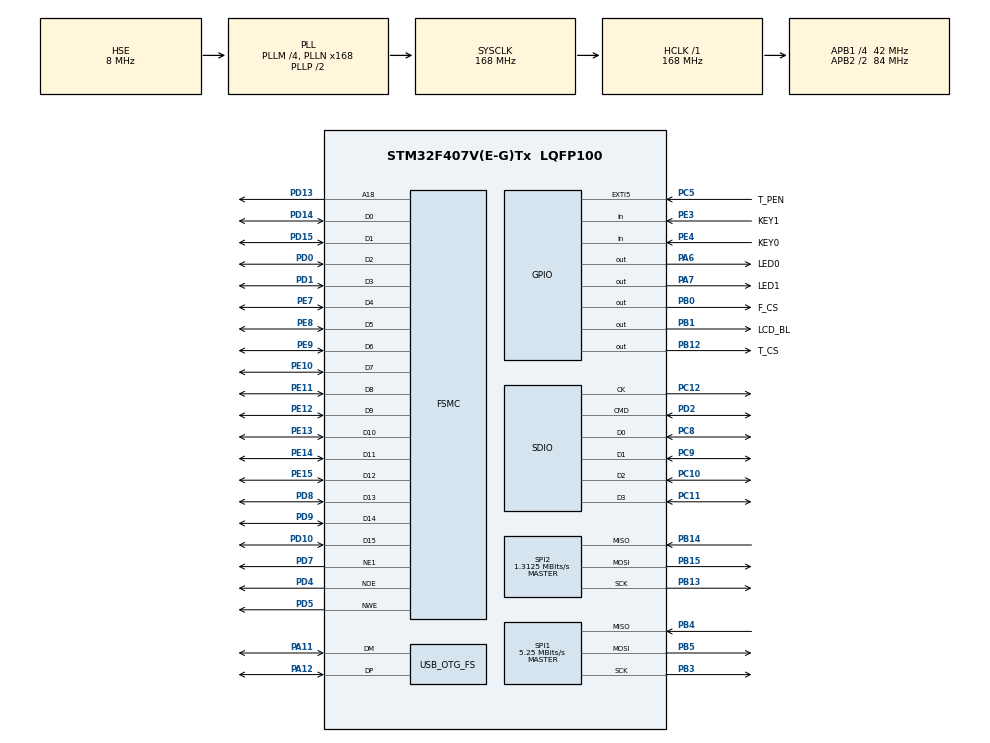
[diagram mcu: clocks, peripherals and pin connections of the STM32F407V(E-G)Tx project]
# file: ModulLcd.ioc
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FATFS.BSP.number=1
FATFS.USE_DMA_CODE_SD=1
FATFS._MAX_SS=4096
FATFS0.BSP.STBoard=false
FATFS0.BSP.api=Unknown
FATFS0.BSP.i2caddr=0
FATFS0.BSP.instance=PE4
FATFS0.BSP.ip=GPIO
FATFS0.BSP.mode=Input
FATFS0.BSP.name=Detect_SDIO
FATFS0.BSP.solution=PE4
Mcu.Family=STM32F4
Mcu.Name=STM32F407V(E-G)Tx
Mcu.Package=LQFP100
NVIC.EXTI9_5_IRQn=true\:0\:0\:false\:true\:true\:1\:true\:true
NVIC.OTG_FS_IRQn=true\:0\:0\:false\:false\:true\:false\:true
NVIC.PriorityGroup=NVIC_PRIORITYGROUP_4
PA11.Mode=Device_Only
PA11.Signal=USB_OTG_FS_DM
PA12.Mode=Device_Only
PA12.Signal=USB_OTG_FS_DP
PA13.Mode=Serial_Wire
PA13.Signal=SYS_JTMS-SWDIO
PA14.Mode=Serial_Wire
PA14.Signal=SYS_JTCK-SWCLK
PA6.GPIO_Label=LED0
PA6.PinState=GPIO_PIN_SET
PA6.Signal=GPIO_Output
PA7.GPIO_Label=LED1
PA7.PinState=GPIO_PIN_SET
PA7.Signal=GPIO_Output
PB0.GPIO_Label=F_CS
PB0.GPIO_Speed=GPIO_SPEED_FREQ_HIGH
PB0.PinState=GPIO_PIN_SET
PB0.Signal=GPIO_Output
PB1.GPIO_Label=LCD_BL
PB1.Signal=GPIO_Output
PB12.GPIO_Label=T_CS
PB12.GPIO_PuPd=GPIO_PULLUP
PB12.GPIO_Speed=GPIO_SPEED_FREQ_HIGH
PB12.PinState=GPIO_PIN_SET
PB12.Signal=GPIO_Output
PB13.Mode=Full_Duplex_Master
PB13.Signal=SPI2_SCK
PB14.Mode=Full_Duplex_Master
PB14.Signal=SPI2_MISO
PB15.Mode=Full_Duplex_Master
PB15.Signal=SPI2_MOSI
PB3.Mode=Full_Duplex_Master
PB3.Signal=SPI1_SCK
PB4.Mode=Full_Duplex_Master
PB4.Signal=SPI1_MISO
PB5.Mode=Full_Duplex_Master
PB5.Signal=SPI1_MOSI
PC10.Mode=SD_4_bits_Wide_bus
PC10.Signal=SDIO_D2
PC11.Mode=SD_4_bits_Wide_bus
PC11.Signal=SDIO_D3
PC12.Mode=SD_4_bits_Wide_bus
PC12.Signal=SDIO_CK
PC5.GPIO_Label=T_PEN
PC5.GPIO_ModeDefaultEXTI=GPIO_MODE_IT_FALLING
PC5.GPIO_PuPd=GPIO_PULLUP
PC5.Signal=GPXTI5
PC8.Mode=SD_4_bits_Wide_bus
PC8.Signal=SDIO_D0
PC9.Mode=SD_4_bits_Wide_bus
PC9.Signal=SDIO_D1
PD0.Mode=16b-d1
PD0.Signal=FSMC_D2
PD1.Mode=16b-d1
PD1.Signal=FSMC_D3
PD10.Mode=16b-d1
PD10.Signal=FSMC_D15
PD13.Mode=A18_1
PD13.Signal=FSMC_A18
PD14.Mode=16b-d1
PD14.Signal=FSMC_D0
PD15.Mode=16b-d1
PD15.Signal=FSMC_D1
PD2.Mode=SD_4_bits_Wide_bus
PD2.Signal=SDIO_CMD
PD4.Mode=Lcd1
PD4.Signal=FSMC_NOE
PD5.Mode=Lcd1
PD5.Signal=FSMC_NWE
PD7.Mode=NorPsramChipSelect1_1
PD7.Signal=FSMC_NE1
PD8.Mode=16b-d1
PD8.Signal=FSMC_D13
PD9.Mode=16b-d1
PD9.Signal=FSMC_D14
PE10.Mode=16b-d1
PE10.Signal=FSMC_D7
PE11.Mode=16b-d1
PE11.Signal=FSMC_D8
PE12.Mode=16b-d1
PE12.Signal=FSMC_D9
PE13.Mode=16b-d1
PE13.Signal=FSMC_D10
PE14.Mode=16b-d1
PE14.Signal=FSMC_D11
PE15.Mode=16b-d1
PE15.Signal=FSMC_D12
PE3.GPIO_Label=KEY1
PE3.GPIO_PuPd=GPIO_PULLUP
PE3.Signal=GPIO_Input
PE4.GPIO_Label=KEY0
PE4.GPIO_PuPd=GPIO_PULLUP
PE4.Signal=GPIO_Input
PE7.Mode=16b-d1
PE7.Signal=FSMC_D4
PE8.Mode=16b-d1
PE8.Signal=FSMC_D5
PE9.Mode=16b-d1
PE9.Signal=FSMC_D6
PH0-OSC_IN.Mode=HSE-External-Oscillator
PH0-OSC_IN.Signal=RCC_OSC_IN
PH1-OSC_OUT.Mode=HSE-External-Oscillator
PH1-OSC_OUT.Signal=RCC_OSC_OUT
ProjectManager.HeapSize=0x200
ProjectManager.StackSize=0x400
ProjectManager.TargetToolchain=STM32CubeIDE
RCC.48MHZClocksFreq_Value=48000000
RCC.AHBFreq_Value=168000000
RCC.APB1CLKDivider=RCC_HCLK_DIV4
RCC.APB1Freq_Value=42000000
RCC.APB1TimFreq_Value=84000000
RCC.APB2CLKDivider=RCC_HCLK_DIV2
RCC.APB2Freq_Value=84000000
RCC.APB2TimFreq_Value=168000000
RCC.CortexFreq_Value=168000000
RCC.HCLKFreq_Value=168000000
RCC.HSE_VALUE=8000000
RCC.HSI_VALUE=16000000
RCC.LSE_VALUE=32768
RCC.PLLM=4
RCC.PLLN=168
RCC.PLLQ=7
RCC.SYSCLKFreq_VALUE=168000000
RCC.SYSCLKSource=RCC_SYSCLKSOURCE_PLLCLK
RCC.VCOOutputFreq_Value=336000000
SPI1.BaudRatePrescaler=SPI_BAUDRATEPRESCALER_16
SPI1.CalculateBaudRate=5.25 MBits/s
SPI1.Direction=SPI_DIRECTION_2LINES
SPI1.Mode=SPI_MODE_MASTER
SPI1.VirtualType=VM_MASTER
SPI2.BaudRatePrescaler=SPI_BAUDRATEPRESCALER_32
SPI2.CalculateBaudRate=1.3125 MBits/s
SPI2.Direction=SPI_DIRECTION_2LINES
SPI2.Mode=SPI_MODE_MASTER
SPI2.VirtualType=VM_MASTER
USB_DEVICE.CLASS_NAME_FS=MSC
USB_DEVICE.VirtualMode-MSC_FS=Msc
USB_DEVICE.VirtualModeFS=Msc_FS
USB_OTG_FS.VirtualMode=Device_Only
VP_FATFS_VS_SDIO.Mode=SDIO
VP_USB_DEVICE_VS_USB_DEVICE_MSC_FS.Mode=MSC_FS
board=custom

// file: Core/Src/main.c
/* USER CODE BEGIN Header */
/**
  ******************************************************************************
  * @file           : main.c
  * @brief          : Main program body
  ******************************************************************************
  * @attention
  *
  * <h2><center>&copy; Copyright (c) 2020 STMicroelectronics.
  * All rights reserved.</center></h2>
  *
  * This software component is licensed by ST under BSD 3-Clause license,
  * the "License"; You may not use this file except in compliance with the
  * License. You may obtain a copy of the License at:
  *                        opensource.org/licenses/BSD-3-Clause
  *
  ******************************************************************************
  */
/* USER CODE END Header */
#include "main.h"
#include "fatfs.h"
#include "usb_device.h"

/* USER CODE BEGIN Includes */
#include "ili9341.h"
#include "XPT2046_touch.h"
#include "touch_process.h"
#include "w25qxx.h"
/* USER CODE END Includes */

SD_HandleTypeDef hsd;

SPI_HandleTypeDef hspi1;
SPI_HandleTypeDef hspi2;

SRAM_HandleTypeDef hsram1;

void SystemClock_Config(void);
static void MX_GPIO_Init(void);
static void MX_SPI1_Init(void);
static void MX_FSMC_Init(void);
static void MX_SPI2_Init(void);
static void MX_SDIO_SD_Init(void);
static void MX_NVIC_Init(void);

int main(void)
{

  /* MCU Configuration--------------------------------------------------------*/

  /* Reset of all peripherals, Initializes the Flash interface and the Systick. */
  HAL_Init();

  /* Configure the system clock */
  SystemClock_Config();

  /* Initialize all configured peripherals */
  MX_GPIO_Init();
  MX_SPI1_Init();
  MX_FSMC_Init();
  MX_SPI2_Init();
  MX_SDIO_SD_Init();
  MX_FATFS_Init();
  MX_USB_DEVICE_Init();

  /* Initialize interrupts */
  MX_NVIC_Init();
  /* USER CODE BEGIN 2 */

  // dataflash init
  W25qxx_Init();

  // backlight on
  lcdBacklightOn();
  // initialization
  lcdInit();
  // orientation
  lcdSetOrientation(LCD_ORIENTATION_LANDSCAPE);
  // background color
  lcdFillRGB(COLOR_WHITE);

  lcdSetTextFont(&Font8);
  lcdSetTextColor(COLOR_BLACK, COLOR_WHITE);
  lcdSetCursor(50, 5);   // xy
  lcdPrintf("Hello world");

  lcdSetTextFont(&Font12);
  lcdSetTextColor(COLOR_GREEN, COLOR_WHITE);
  lcdSetCursor(100, 5);   // xy
  lcdPrintf("Hello world");

  /* USER CODE END 2 */

  /* Infinite loop */
  /* USER CODE BEGIN WHILE */
  while (1)
  {
	// touch screen post IRQ handler
	tp_doProcessMain();

    /* USER CODE END WHILE */

  }
}

void SystemClock_Config(void)
{
  RCC_OscInitTypeDef RCC_OscInitStruct = {0};
  RCC_ClkInitTypeDef RCC_ClkInitStruct = {0};

  /** Configure the main internal regulator output voltage
  */
  __HAL_RCC_PWR_CLK_ENABLE();
  __HAL_PWR_VOLTAGESCALING_CONFIG(PWR_REGULATOR_VOLTAGE_SCALE1);
  /** Initializes the RCC Oscillators according to the specified parameters
  * in the RCC_OscInitTypeDef structure.
  */
  RCC_OscInitStruct.OscillatorType = RCC_OSCILLATORTYPE_HSE;
  RCC_OscInitStruct.HSEState = RCC_HSE_ON;
  RCC_OscInitStruct.PLL.PLLState = RCC_PLL_ON;
  RCC_OscInitStruct.PLL.PLLSource = RCC_PLLSOURCE_HSE;
  RCC_OscInitStruct.PLL.PLLM = 4;
  RCC_OscInitStruct.PLL.PLLN = 168;
  RCC_OscInitStruct.PLL.PLLP = RCC_PLLP_DIV2;
  RCC_OscInitStruct.PLL.PLLQ = 7;
  if (HAL_RCC_OscConfig(&RCC_OscInitStruct) != HAL_OK)
  {
    Error_Handler();
  }
  /** Initializes the CPU, AHB and APB buses clocks
  */
  RCC_ClkInitStruct.ClockType = RCC_CLOCKTYPE_HCLK|RCC_CLOCKTYPE_SYSCLK
                              |RCC_CLOCKTYPE_PCLK1|RCC_CLOCKTYPE_PCLK2;
  RCC_ClkInitStruct.SYSCLKSource = RCC_SYSCLKSOURCE_PLLCLK;
  RCC_ClkInitStruct.AHBCLKDivider = RCC_SYSCLK_DIV1;
  RCC_ClkInitStruct.APB1CLKDivider = RCC_HCLK_DIV4;
  RCC_ClkInitStruct.APB2CLKDivider = RCC_HCLK_DIV2;

  if (HAL_RCC_ClockConfig(&RCC_ClkInitStruct, FLASH_LATENCY_5) != HAL_OK)
  {
    Error_Handler();
  }
}

/**
  * @brief NVIC Configuration.
  * @retval None
  */
static void MX_NVIC_Init(void)
{
  /* EXTI9_5_IRQn interrupt configuration */
  HAL_NVIC_SetPriority(EXTI9_5_IRQn, 0, 0);
  HAL_NVIC_EnableIRQ(EXTI9_5_IRQn);
}

static void MX_SDIO_SD_Init(void)
{

  hsd.Instance = SDIO;
  hsd.Init.ClockEdge = SDIO_CLOCK_EDGE_RISING;
  hsd.Init.ClockBypass = SDIO_CLOCK_BYPASS_DISABLE;
  hsd.Init.ClockPowerSave = SDIO_CLOCK_POWER_SAVE_DISABLE;
  hsd.Init.BusWide = SDIO_BUS_WIDE_1B;
  hsd.Init.HardwareFlowControl = SDIO_HARDWARE_FLOW_CONTROL_DISABLE;
  hsd.Init.ClockDiv = 0;

}

static void MX_SPI1_Init(void)
{

  /* SPI1 parameter configuration*/
  hspi1.Instance = SPI1;
  hspi1.Init.Mode = SPI_MODE_MASTER;
  hspi1.Init.Direction = SPI_DIRECTION_2LINES;
  hspi1.Init.DataSize = SPI_DATASIZE_8BIT;
  hspi1.Init.CLKPolarity = SPI_POLARITY_LOW;
  hspi1.Init.CLKPhase = SPI_PHASE_1EDGE;
  hspi1.Init.NSS = SPI_NSS_SOFT;
  hspi1.Init.BaudRatePrescaler = SPI_BAUDRATEPRESCALER_16;
  hspi1.Init.FirstBit = SPI_FIRSTBIT_MSB;
  hspi1.Init.TIMode = SPI_TIMODE_DISABLE;
  hspi1.Init.CRCCalculation = SPI_CRCCALCULATION_DISABLE;
  hspi1.Init.CRCPolynomial = 10;
  if (HAL_SPI_Init(&hspi1) != HAL_OK)
  {
    Error_Handler();
  }

}

static void MX_SPI2_Init(void)
{

  /* SPI2 parameter configuration*/
  hspi2.Instance = SPI2;
  hspi2.Init.Mode = SPI_MODE_MASTER;
  hspi2.Init.Direction = SPI_DIRECTION_2LINES;
  hspi2.Init.DataSize = SPI_DATASIZE_8BIT;
  hspi2.Init.CLKPolarity = SPI_POLARITY_LOW;
  hspi2.Init.CLKPhase = SPI_PHASE_1EDGE;
  hspi2.Init.NSS = SPI_NSS_SOFT;
  hspi2.Init.BaudRatePrescaler = SPI_BAUDRATEPRESCALER_32;
  hspi2.Init.FirstBit = SPI_FIRSTBIT_MSB;
  hspi2.Init.TIMode = SPI_TIMODE_DISABLE;
  hspi2.Init.CRCCalculation = SPI_CRCCALCULATION_DISABLE;
  hspi2.Init.CRCPolynomial = 10;
  if (HAL_SPI_Init(&hspi2) != HAL_OK)
  {
    Error_Handler();
  }

}

static void MX_GPIO_Init(void)
{
  GPIO_InitTypeDef GPIO_InitStruct = {0};

  /* GPIO Ports Clock Enable */
  __HAL_RCC_GPIOE_CLK_ENABLE();
  __HAL_RCC_GPIOH_CLK_ENABLE();
  __HAL_RCC_GPIOA_CLK_ENABLE();
  __HAL_RCC_GPIOC_CLK_ENABLE();
  __HAL_RCC_GPIOB_CLK_ENABLE();
  __HAL_RCC_GPIOD_CLK_ENABLE();

  /*Configure GPIO pin Output Level */
  HAL_GPIO_WritePin(GPIOA, LED0_Pin|LED1_Pin, GPIO_PIN_SET);

  /*Configure GPIO pin Output Level */
  HAL_GPIO_WritePin(GPIOB, F_CS_Pin|T_CS_Pin, GPIO_PIN_SET);

  /*Configure GPIO pin Output Level */
  HAL_GPIO_WritePin(LCD_BL_GPIO_Port, LCD_BL_Pin, GPIO_PIN_RESET);

  /*Configure GPIO pins : KEY1_Pin KEY0_Pin */
  GPIO_InitStruct.Pin = KEY1_Pin|KEY0_Pin;
  GPIO_InitStruct.Mode = GPIO_MODE_INPUT;
  GPIO_InitStruct.Pull = GPIO_PULLUP;
  HAL_GPIO_Init(GPIOE, &GPIO_InitStruct);

  /*Configure GPIO pins : LED0_Pin LED1_Pin */
  GPIO_InitStruct.Pin = LED0_Pin|LED1_Pin;
  GPIO_InitStruct.Mode = GPIO_MODE_OUTPUT_PP;
  GPIO_InitStruct.Pull = GPIO_NOPULL;
  GPIO_InitStruct.Speed = GPIO_SPEED_FREQ_LOW;
  HAL_GPIO_Init(GPIOA, &GPIO_InitStruct);

  /*Configure GPIO pin : T_PEN_Pin */
  GPIO_InitStruct.Pin = T_PEN_Pin;
  GPIO_InitStruct.Mode = GPIO_MODE_IT_FALLING;
  GPIO_InitStruct.Pull = GPIO_PULLUP;
  HAL_GPIO_Init(T_PEN_GPIO_Port, &GPIO_InitStruct);

  /*Configure GPIO pin : F_CS_Pin */
  GPIO_InitStruct.Pin = F_CS_Pin;
  GPIO_InitStruct.Mode = GPIO_MODE_OUTPUT_PP;
  GPIO_InitStruct.Pull = GPIO_NOPULL;
  GPIO_InitStruct.Speed = GPIO_SPEED_FREQ_HIGH;
  HAL_GPIO_Init(F_CS_GPIO_Port, &GPIO_InitStruct);

  /*Configure GPIO pin : LCD_BL_Pin */
  GPIO_InitStruct.Pin = LCD_BL_Pin;
  GPIO_InitStruct.Mode = GPIO_MODE_OUTPUT_PP;
  GPIO_InitStruct.Pull = GPIO_NOPULL;
  GPIO_InitStruct.Speed = GPIO_SPEED_FREQ_LOW;
  HAL_GPIO_Init(LCD_BL_GPIO_Port, &GPIO_InitStruct);

  /*Configure GPIO pin : T_CS_Pin */
  GPIO_InitStruct.Pin = T_CS_Pin;
  GPIO_InitStruct.Mode = GPIO_MODE_OUTPUT_PP;
  GPIO_InitStruct.Pull = GPIO_PULLUP;
  GPIO_InitStruct.Speed = GPIO_SPEED_FREQ_HIGH;
  HAL_GPIO_Init(T_CS_GPIO_Port, &GPIO_InitStruct);

}

/* FSMC initialization function */
static void MX_FSMC_Init(void)
{

  FSMC_NORSRAM_TimingTypeDef Timing = {0};

  /** Perform the SRAM1 memory initialization sequence
  */
  hsram1.Instance = FSMC_NORSRAM_DEVICE;
  hsram1.Extended = FSMC_NORSRAM_EXTENDED_DEVICE;
  /* hsram1.Init */
  hsram1.Init.NSBank = FSMC_NORSRAM_BANK1;
  hsram1.Init.DataAddressMux = FSMC_DATA_ADDRESS_MUX_DISABLE;
  hsram1.Init.MemoryType = FSMC_MEMORY_TYPE_SRAM;
  hsram1.Init.MemoryDataWidth = FSMC_NORSRAM_MEM_BUS_WIDTH_16;
  hsram1.Init.BurstAccessMode = FSMC_BURST_ACCESS_MODE_DISABLE;
  hsram1.Init.WaitSignalPolarity = FSMC_WAIT_SIGNAL_POLARITY_LOW;
  hsram1.Init.WrapMode = FSMC_WRAP_MODE_DISABLE;
  hsram1.Init.WaitSignalActive = FSMC_WAIT_TIMING_BEFORE_WS;
  hsram1.Init.WriteOperation = FSMC_WRITE_OPERATION_ENABLE;
  hsram1.Init.WaitSignal = FSMC_WAIT_SIGNAL_DISABLE;
  hsram1.Init.ExtendedMode = FSMC_EXTENDED_MODE_DISABLE;
  hsram1.Init.AsynchronousWait = FSMC_ASYNCHRONOUS_WAIT_DISABLE;
  hsram1.Init.WriteBurst = FSMC_WRITE_BURST_DISABLE;
  hsram1.Init.PageSize = FSMC_PAGE_SIZE_NONE;
  /* Timing */
  Timing.AddressSetupTime = 15;
  Timing.AddressHoldTime = 15;
  Timing.DataSetupTime = 255;
  Timing.BusTurnAroundDuration = 15;
  Timing.CLKDivision = 16;
  Timing.DataLatency = 17;
  Timing.AccessMode = FSMC_ACCESS_MODE_A;
  /* ExtTiming */

  if (HAL_SRAM_Init(&hsram1, &Timing, NULL) != HAL_OK)
  {
    Error_Handler( );
  }

}

/* USER CODE BEGIN 4 */
void HAL_GPIO_EXTI_Callback (uint16_t GPIO_Pin)
{
	if (GPIO_Pin == T_PEN_Pin)	// interrupt from touch ?
	{
		// touch screen IRQ handler
		tp_doProcessIRQ();
	}
}
/* USER CODE END 4 */

void Error_Handler(void)
{
}

/************************ (C) COPYRIGHT STMicroelectronics *****END OF FILE****/
